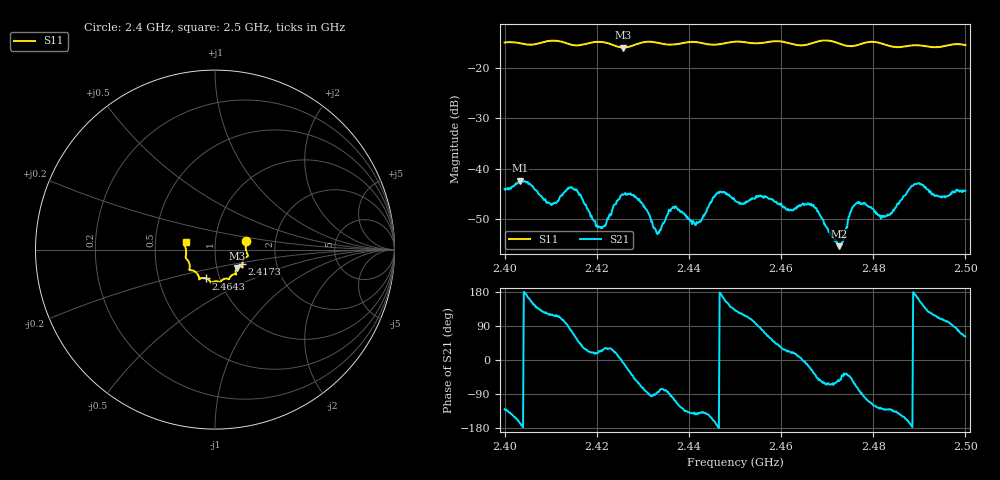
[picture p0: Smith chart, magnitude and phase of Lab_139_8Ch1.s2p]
# Hz S RI R 50
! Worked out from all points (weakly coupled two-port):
!   601 points, 2.4 GHz to 2.5 GHz, reference 50 ohm
!   highest |S21| = -42.37 dB at 2.4033 GHz (marker M1); lowest = -55.4 dB at 2.4725 GHz (marker M2)
!   lowest |S11| = -15.9 dB at 2.4257 GHz (marker M3), VSWR 1.38, Z = 62.5 - j13.1 ohm
!   |S11| at or under -10 dB: start of sweep to end of sweep
!   S12 and S22 are empty: the file has one direction only
!   S11 on the Smith chart (normalised r, x): 2.4 GHz: 1.41, +0.14; 2.4173 GHz: 1.34, -0.23; 2.4643 GHz: 0.86, -0.28; 2.5 GHz: 0.72, +0.06
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2.4e9  0.173 0.0486  -0.00405 -0.00481  0 0  0 0
2.403333e9  0.174 0.0318  -0.0074 -0.00178  0 0  0 0
2.409667e9  0.1833 -0.0321  -0.00222 0.00401  0 0  0 0
2.414167e9  0.1651 -0.0488  0.000867 0.0064  0 0  0 0
2.416667e9  0.1526 -0.0746  0.004 0.00339  0 0  0 0
2.417333e9  0.1518 -0.082  0.00391 0.00226  0 0  0 0
2.421333e9  0.1533 -0.0966  0.00236 0.00121  0 0  0 0
2.425667e9  0.123 -0.1023  0.00548 -0.000601  0 0  0 0
2.4295e9  0.1164 -0.1345  0.00174 -0.00429  0 0  0 0
2.433333e9  0.113 -0.1376  0.000194 -0.00233  0 0  0 0
2.436667e9  0.0892 -0.1466  -0.000881 -0.00408  0 0  0 0
2.441667e9  0.0754 -0.1646  -0.00229 -0.00186  0 0  0 0
2.446333e9  0.045 -0.166  -0.00582 -0.000384  0 0  0 0
2.45e9  0.0287 -0.1809  -0.00321 0.00356  0 0  0 0
2.464333e9  -0.0499 -0.1605  0.00429 0.000349  0 0  0 0
2.466667e9  -0.076 -0.1592  0.00384 -0.00188  0 0  0 0
2.4725e9  -0.0897 -0.1518  0.000954 -0.00141  0 0  0 0
2.4765e9  -0.1216 -0.1171  0.00143 -0.00435  0 0  0 0
2.483333e9  -0.1406 -0.0899  -0.00227 -0.00263  0 0  0 0
2.489333e9  -0.1631 -0.0442  -0.00691 0.00135  0 0  0 0
2.494333e9  -0.162 0.00227  -0.00179 0.00498  0 0  0 0
2.5e9  -0.1637 0.0427  0.00282 0.00535  0 0  0 0
